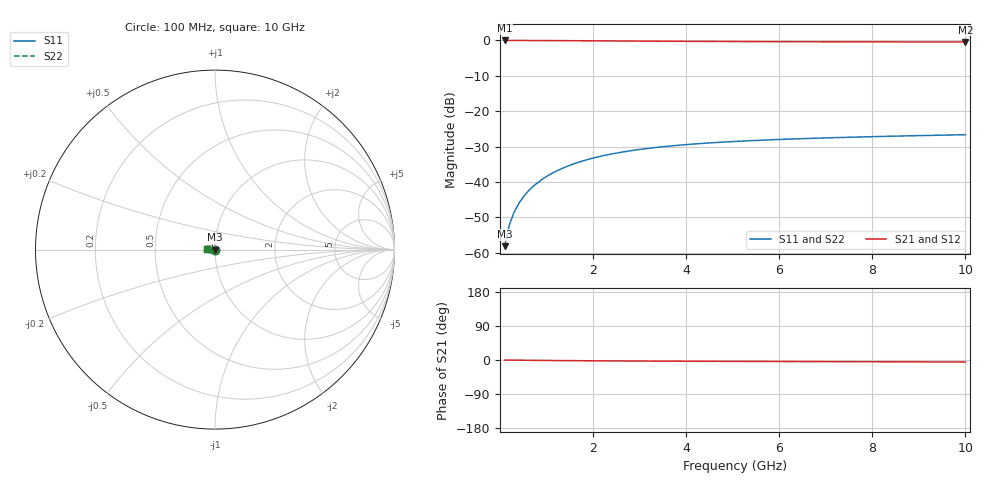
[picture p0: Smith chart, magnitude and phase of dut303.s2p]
! Touchstone file exported from HFSS 2024.1.0
!  File:  C:/UserFiles/LocalFiles/RDL_TSV_Batchsim/temp_TSV1_303_1779614898.aedt
!  Generated:  05:34:22 PM May 24, 2026
!  Design:  TSV1
!  Project:  temp_TSV1_303_1779614898
!  Setup:  Setup1
!  Solution:  Sweep
! Variables:
!  dtsv = 9.93um
!  hbump = 3um
!  htsv = 82.28um
!  lrdl = 252.1521522um
!  p = 40
!  p1 = 50.55um
!  t = 500um
!  trdl = 3um
!  wrdl = 24.89489489um
# GHz S MA R 50.000000
! Terminal data exported
! Port[1] = TSV22_T1
! Port[2] = TSV22_T2
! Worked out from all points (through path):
!   100 points, 100 MHz to 10 GHz, reference 50 ohm
!   highest |S21| = 0.00 dB at 100 MHz (marker M1); lowest = -0.4 dB at 10 GHz (marker M2)
!   lowest |S11| = -58.2 dB at 100 MHz (marker M3), VSWR 1.00, Z = 50 - j0.123 ohm
!   |S11| at or under -10 dB: start of sweep to end of sweep
!   |S22| runs from -58.2 to -26.6 dB; largest |S21 - S12| = 4.1e-15
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0.1  0.001235 -84.9  0.9998 -0.1  0.9998 -0.1  0.001235 -84.9
! Gamma 0 0 0 0
! Port Impedance 50 0 50 0
0.2  0.002458 -90.0  0.9997 -0.3  0.9997 -0.3  0.002458 -90.0
0.3  0.003683 -92.9  0.9995 -0.4  0.9995 -0.4  0.003683 -92.9
0.4  0.004904 -95.3  0.9992 -0.5  0.9992 -0.5  0.004904 -95.3
0.5  0.006116 -97.4  0.9988 -0.6  0.9988 -0.6  0.006116 -97.4
0.6  0.007315 -99.5  0.9984 -0.7  0.9984 -0.7  0.007315 -99.5
0.7  0.008499 -101.5  0.9979 -0.9  0.9979 -0.9  0.008499 -101.5
0.8  0.009665 -103.4  0.9973 -1.0  0.9973 -1.0  0.009665 -103.4
0.9  0.01081 -105.2  0.9967 -1.1  0.9967 -1.1  0.01081 -105.2
1.1  0.01303 -108.8  0.9954 -1.3  0.9954 -1.3  0.01303 -108.8
1.4  0.01618 -114.0  0.993 -1.6  0.993 -1.6  0.01618 -114.0
1.6  0.01814 -117.3  0.9913 -1.8  0.9913 -1.8  0.01814 -117.3
1.8  0.01998 -120.4  0.9895 -2.0  0.9895 -2.0  0.01998 -120.4
2.1  0.02253 -124.8  0.9868 -2.2  0.9868 -2.2  0.02253 -124.8
2.5  0.02555 -130.3  0.9831 -2.5  0.9831 -2.5  0.02555 -130.3
2.9  0.02817 -135.4  0.9796 -2.7  0.9796 -2.7  0.02817 -135.4
3.4  0.03095 -141.1  0.9756 -3.0  0.9756 -3.0  0.03095 -141.1
4.2  0.03448 -149.0  0.97 -3.3  0.97 -3.3  0.03448 -149.0
5.1  0.03749 -156.5  0.9651 -3.7  0.9651 -3.7  0.03749 -156.5
6.7  0.04133 -167.3  0.9587 -4.2  0.9587 -4.2  0.04133 -167.3
8.4  0.04426 -176.5  0.9543 -4.8  0.9543 -4.8  0.04426 -176.5
10  0.04651 176.2  0.9515 -5.3  0.9515 -5.3  0.04651 176.2
